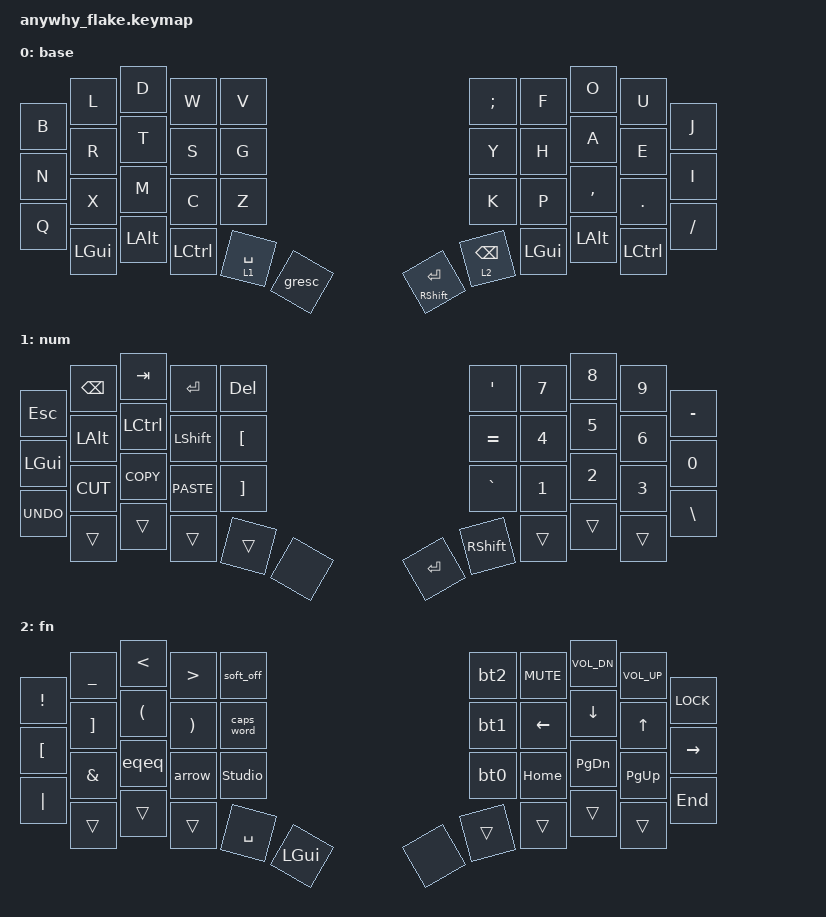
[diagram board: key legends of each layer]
#include <behaviors.dtsi>
#include <dt-bindings/zmk/bt.h>
#include <dt-bindings/zmk/keys.h>

/ {
    combos {
        compatible = "zmk,combos";

        bt_sel_3 {
            bindings = <&bt3>;
            key-positions = <42 30>;
            layers = <2>;
        };

        bt_sel_4 {
            bindings = <&bt4>;
            key-positions = <30 18>;
            layers = <2>;
        };

        enter_gaming {
            bindings = <&sl 3>;
            key-positions = <26 15 28>;
            layers = <2>;
        };

        leave_gaming {
            bindings = <&sl 0>;
            key-positions = <31 20 33>;
            layers = <4>;
        };

        grave {
            bindings = <&kp GRAVE>;
            key-positions = <13 25>;
            layers = <3>;
        };
    };

    macros {
        bt_clr_0: bt_clr_0 {
            compatible = "zmk,behavior-macro";
            #binding-cells = <0>;
            bindings = <&bt BT_SEL 0 &bt BT_CLR>;
            label = "BT_CLR_0";
        };

        bt_clr_1: bt_clr_1 {
            compatible = "zmk,behavior-macro";
            #binding-cells = <0>;
            bindings = <&bt BT_SEL 1 &bt BT_CLR>;
            label = "BT_CLR_1";
        };

        bt_clr_2: bt_clr_2 {
            compatible = "zmk,behavior-macro";
            #binding-cells = <0>;
            bindings = <&bt BT_SEL 2 &bt BT_CLR>;
            label = "BT_CLR_2";
        };

        bt_clr_3: bt_clr_3 {
            compatible = "zmk,behavior-macro";
            #binding-cells = <0>;
            bindings = <&bt BT_SEL 3 &bt BT_CLR>;
            label = "BT_CLR_3";
        };

        bt_clr_4: bt_clr_4 {
            compatible = "zmk,behavior-macro";
            #binding-cells = <0>;
            bindings = <&bt BT_SEL 4 &bt BT_CLR>;
            label = "BT_CLR_4";
        };

        arrow: arrow {
            compatible = "zmk,behavior-macro";
            #binding-cells = <0>;
            bindings = <&kp MINUS &kp GREATER_THAN>;
            label = "ARROW";
        };

        eqeq: eqeq {
            compatible = "zmk,behavior-macro";
            #binding-cells = <0>;
            bindings = <&kp EQUAL &kp EQUAL>;
            label = "EQEQ";
        };
    };

    behaviors {
        bt0: bt0 {
            compatible = "zmk,behavior-mod-morph";
            label = "BT0";
            bindings = <&bt BT_SEL 0>, <&bt_clr_0>;

            #binding-cells = <0>;
            mods = <(MOD_LSFT|MOD_RSFT)>;
        };

        bt1: bt1 {
            compatible = "zmk,behavior-mod-morph";
            label = "BT1";
            bindings = <&bt BT_SEL 1>, <&bt_clr_1>;

            #binding-cells = <0>;
            mods = <(MOD_LSFT|MOD_RSFT)>;
        };

        bt2: bt2 {
            compatible = "zmk,behavior-mod-morph";
            label = "BT2";
            bindings = <&bt BT_SEL 2>, <&bt_clr_2>;

            #binding-cells = <0>;
            mods = <(MOD_LSFT|MOD_RSFT)>;
        };

        bt3: bt3 {
            compatible = "zmk,behavior-mod-morph";
            label = "BT3";
            bindings = <&bt BT_SEL 3>, <&bt_clr_3>;

            #binding-cells = <0>;
            mods = <(MOD_LSFT|MOD_RSFT)>;
        };

        bt4: bt4 {
            compatible = "zmk,behavior-mod-morph";
            label = "BT4";
            bindings = <&bt BT_SEL 4>, <&bt_clr_4>;

            #binding-cells = <0>;
            mods = <(MOD_LSFT|MOD_RSFT)>;
        };

	omt: mod_tap {
            compatible = "zmk,behavior-hold-tap";
            #binding-cells = <2>;
            flavor = "balanced";
            tapping-term-ms = <200>;
	    quick-tap-ms = <150>;
            bindings = <&kp>, <&kp>;
            display-name = "Mod-Tap";
        };

	olt: layer_tap {
            compatible = "zmk,behavior-hold-tap";
            #binding-cells = <2>;
            flavor = "tap-preferred";
            tapping-term-ms = <200>;
	    quick-tap-ms = <150>;
            bindings = <&mo>, <&kp>;
            display-name = "Layer-Tap";
        };

    };

    keymap {
        compatible = "zmk,keymap";

        base {
            bindings = <
  &kp B     &kp L     &kp D      &kp W        &kp V     &kp SEMI               &kp F            &kp O      &kp U     &kp J
  &kp N     &kp R     &kp T      &kp S        &kp G     &kp Y                  &kp H            &kp A      &kp E     &kp I
  &kp Q     &kp X     &kp M      &kp C        &kp Z     &kp K                  &kp P            &kp COMMA  &kp DOT   &kp FSLH
  &kp LGUI  &kp LALT  &kp LCTRL  &olt 1 SPACE  &gresc    &omt RIGHT_SHIFT ENTER  &olt 2 BACKSPACE  &kp LGUI   &kp LALT  &kp LCTRL
            >;
        };

        num {
            bindings = <
  &kp ESC     &kp BACKSPACE  &kp TAB     &kp ENTER    &kp DEL     &kp SINGLE_QUOTE  &kp N7           &kp N8  &kp N9  &kp MINUS
  &kp LGUI    &kp LALT       &kp LCTRL   &kp LSHFT    &kp LBKT    &kp EQUAL         &kp N4           &kp N5  &kp N6  &kp N0
  &kp K_UNDO  &kp K_CUT      &kp K_COPY  &kp K_PASTE  &kp RBKT    &kp GRAVE         &kp N1           &kp N2  &kp N3  &kp BSLH
  &trans      &trans         &trans      &trans       &none       &kp ENTER         &kp RIGHT_SHIFT  &trans  &trans  &trans
            >;
        };

        fn {
            bindings = <
  &kp EXCLAMATION   &kp UNDERSCORE     &kp LESS_THAN         &kp GREATER_THAN       &soft_off         &bt2   &kp C_MUTE      &kp C_VOL_DN    &kp C_VOL_UP  &kp K_LOCK
  &kp LEFT_BRACKET  &kp RIGHT_BRACKET  &kp LEFT_PARENTHESIS  &kp RIGHT_PARENTHESIS  &caps_word        &bt1   &kp LEFT_ARROW  &kp DOWN_ARROW  &kp UP_ARROW  &kp RIGHT
  &kp PIPE          &kp AMPERSAND      &eqeq                 &arrow                 &studio_unlock    &bt0   &kp HOME        &kp PAGE_DOWN   &kp PG_UP     &kp END
  &trans            &trans             &trans                &kp SPACE              &kp LEFT_GUI      &none  &trans          &trans          &trans        &trans
            >;
        };
    };
};
